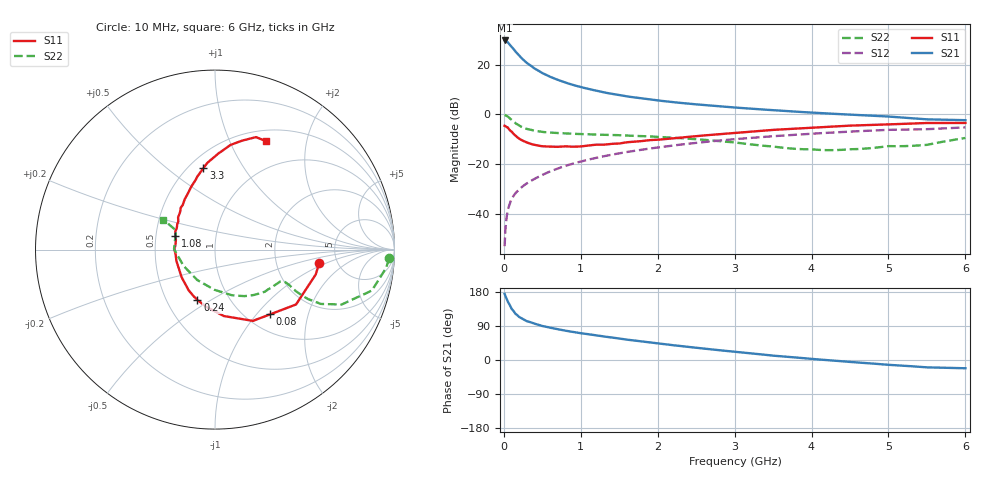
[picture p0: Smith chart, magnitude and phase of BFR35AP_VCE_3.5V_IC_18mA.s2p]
! Infineon Technologies  Discrete & RF Semiconductors
! BFR35AP
! VCE =  3.5 V,  IC =  18 mA
! Common Emitter S-Parameters:  Nov 2015
# GHz  S  MA  R  50
!  f  S11  S21  S12  S22
! GHz  MAG  ANG  MAG  ANG  MAG  ANG  MAG  ANG
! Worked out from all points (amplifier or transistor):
!   210 points, 10 MHz to 6 GHz, reference 50 ohm
!   highest |S21| = 29.7 dB at 10 MHz (marker M1)
!   |S21| within 3 dB of that: start of sweep to 113.8 MHz
!   unconditionally stable (mu >= 1): 411.3 MHz to 3.228 GHz
!   at 185 MHz: K = 0.72, MSG = 27.4 dB, |S12| = -30.7 dB
!   at 1.52 GHz: K = 1.11, MAG = 9.7 dB, |S12| = -15.6 dB
!   at 6 GHz: K = 0.95, MSG = 1.5 dB, |S12| = -5.3 dB
!   S11 on the Smith chart (normalised r, x): 10 MHz: 3.62, -0.82; 80 MHz: 1.27, -1.18; 240 MHz: 0.71, -0.44; 1.08 GHz: 0.63, +0.10; 3.3 GHz: 0.59, +0.68; 6 GHz: 0.63, +1.38
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0.01  0.5851 -7.3  30.68 174.4  0.0022 90.1  0.9725 -2.9
0.02  0.5782 -13.8  30.27 169.0  0.0047 82.3  0.9581 -6.2
0.05  0.5453 -34.1  28.31 154.3  0.0114 76.4  0.9035 -14.6
0.08  0.4738 -49.6  24.86 143.9  0.0162 70.7  0.8199 -19.6
0.1  0.4498 -62.0  23.12 135.4  0.0195 68.5  0.7683 -23.5
0.15  0.3734 -82.4  18.45 122.1  0.0256 65.1  0.6619 -27.2
0.2  0.3223 -98.9  15.09 113.5  0.0306 65.6  0.5888 -28.0
0.24  0.2968 -109.3  13.07 108.7  0.0348 65.6  0.5477 -27.8
0.3  0.2702 -122.8  10.79 102.4  0.0406 66.8  0.5062 -27.2
0.4  0.2419 -140.0  8.346 95.6  0.05 68.1  0.4655 -25.8
0.5  0.2271 -153.1  6.762 89.7  0.0598 69.2  0.4402 -25.0
0.7  0.2208 -173.2  4.939 81.1  0.0805 69.3  0.4184 -25.2
0.84  0.224 177.1  4.158 76.1  0.0953 68.8  0.4079 -25.9
1.02  0.2268 164.6  3.468 70.2  0.1135 67.9  0.399 -27.6
1.08  0.2335 161.3  3.292 68.6  0.1198 67.5  0.3955 -28.5
1.6  0.2729 138.9  2.288 53.7  0.1735 62.9  0.3713 -36.1
2.02  0.3084 125.5  1.885 43.4  0.2162 58.4  0.3494 -44.0
3.1  0.4316 101.6  1.333 19.8  0.3238 45.2  0.2587 -73.4
3.3  0.4572 98.2  1.267 15.8  0.3422 42.5  0.2385 -81.5
4.1  0.5472 86.4  1.059 1.3  0.4142 32.1  0.1915 -126.5
5.1  0.6329 74.8  0.877 -13.9  0.4875 18.0  0.2272 174.1
6  0.6679 64.9  0.76 -21.8  0.5439 7.6  0.3333 149.9
